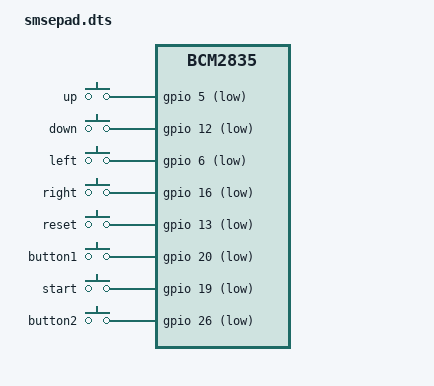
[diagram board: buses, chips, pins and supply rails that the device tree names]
/dts-v1/;
/plugin/;
/ {
   compatible = "brcm,bcm2835";         // RPi3

   fragment@0 {
      target-path = "/";
      __overlay__ {
         keypad: smsepad {
            compatible = "gpio-keys";
            // autorepeat;
            button@1 {
               label = "up";
               linux,code = <17>;       // W
               gpios = <&gpio 5 17>;
            };
            button@2 {
               label = "down";
               linux,code = <31>;       // S
               gpios = <&gpio 12 17>;
            };
            button@3 {
               label = "left";
               linux,code = <30>;       // A
               gpios = <&gpio 6 17>;
            };
            button@4 {
               label = "right";
               linux,code = <32>;       // D
               gpios = <&gpio 16 17>;
            };
            button@5 {
               label = "reset";
               linux,code = <16>;       // Q
               gpios = <&gpio 13 17>;
            };
            button@6 {
               label = "button1";
               linux,code = <37>;       // K
               gpios = <&gpio 20 17>;
            };
            button@7 {
               label = "start";
               linux,code = <28>;       // ENTER
               gpios = <&gpio 19 17>;
            };
            // pin@8 = gnd
            button@9 {
               label = "button2";
               linux,code = <38>;       // L
               gpios = <&gpio 26 17>;
            };
         };
      };
   };
};
